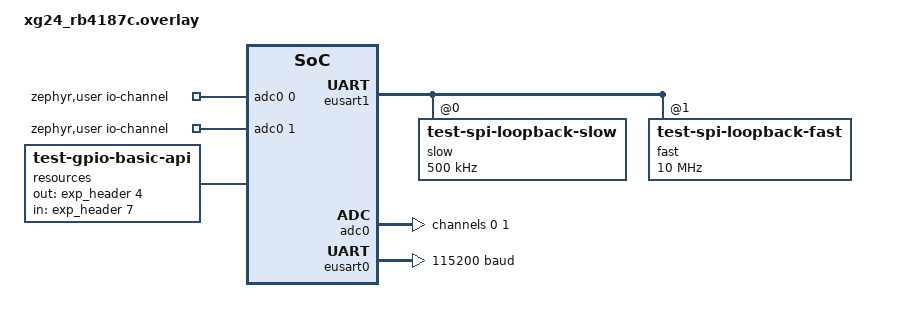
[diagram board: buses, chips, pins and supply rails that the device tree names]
/*
 * Copyright (c) 2026 Silicon Laboratories Inc.
 *
 * SPDX-License-Identifier: Apache-2.0
 */

tst_dma0: &dma0 {
	status = "okay";
};

#include <zephyr/dt-bindings/pinctrl/silabs/xg24-pinctrl.h>

&pinctrl {
	eusart1_default: eusart1_default {
		group0 {
			pins = <EUSART1_TX_PC1>, <EUSART1_SCLK_PC3>;
			drive-push-pull;
			output-high;
		};
		group1 {
			pins = <EUSART1_RX_PA5>;
			input-enable;
		};
	};
};

&eusart1 {
	dmas = <&dma0 DMA_REQSEL_EUSART1TXFL>,
	       <&dma0 DMA_REQSEL_EUSART1RXFL>;
	dma-names = "tx", "rx";
	#address-cells = <1>;
	#size-cells = <0>;
	pinctrl-0 = <&eusart1_default>;
	pinctrl-names = "default";
	status = "okay";
	cs-gpios = <&gpioc 0 GPIO_ACTIVE_LOW>;
	slow@0 {
		compatible = "test-spi-loopback-slow";
		reg = <0>;
		spi-max-frequency = <500000>;
	};
	fast@1 {
		compatible = "test-spi-loopback-fast";
		reg = <1>;
		spi-max-frequency = <10000000>;
	};
};

&dma0 {
	status = "okay";
};

#include "dt-bindings/adc/silabs-adc.h"

/ {
	zephyr,user {
		io-channels = <&adc0 0>, <&adc0 1>;
	};
};

&adc0 {
	#address-cells = <1>;
	#size-cells = <0>;
	status = "okay";
	dmas = <&dma0 DMA_REQSEL_IADC0IADC_SCAN>;
	channel@0 {
		reg = <0>;
		zephyr,gain = "ADC_GAIN_1";
		zephyr,reference = "ADC_REF_INTERNAL";
		zephyr,acquisition-time = <ADC_ACQ_TIME_DEFAULT>;
		zephyr,resolution = <12>;
		zephyr,input-positive = <IADC_INPUT_IOVDD>;
	};
	channel@1 {
		reg = <1>;
		zephyr,gain = "ADC_GAIN_1";
		zephyr,reference = "ADC_REF_INTERNAL";
		zephyr,acquisition-time = <ADC_ACQ_TIME_DEFAULT>;
		zephyr,resolution = <12>;
		zephyr,input-positive = <IADC_INPUT_GND>;
	};
};

/ {
	resources {
		compatible = "test-gpio-basic-api";
		out-gpios = <&exp_header 4 0>;
		in-gpios = <&exp_header 7 0>;
	};
};

/ {
	chosen {
		zephyr,console = &eusart0;
		zephyr,shell-uart = &eusart0;
		zephyr,uart-pipe = &eusart0;
	};
};

&pinctrl {
	usart0_default: usart0_default {
		group0 {
			pins = <USART0_TX_PC1>;
			drive-push-pull;
			output-high;
		};
		group1 {
			pins = <USART0_RX_PA5>;
			input-enable;
			silabs,input-filter;
		};
	};
	eusart0_default: eusart0_default {
		group0 {
			pins = <EUSART0_TX_PA8>;
			drive-push-pull;
			output-high;
		};
		group1 {
			pins = <EUSART0_RX_PA9>;
			input-enable;
			silabs,input-filter;
		};
	};
};

dut: &usart0 {
	dmas = <&dma0 DMA_REQSEL_USART0TXBL>,
	       <&dma0 DMA_REQSEL_USART0RXDATAV>;
	dma-names = "tx", "rx";
	pinctrl-0 = <&usart0_default>;
	pinctrl-names = "default";
};

&eusart0 {
	compatible = "silabs,eusart-uart";
	current-speed = <115200>;
	pinctrl-0 = <&eusart0_default>;
	pinctrl-names = "default";
	status = "okay";
};
